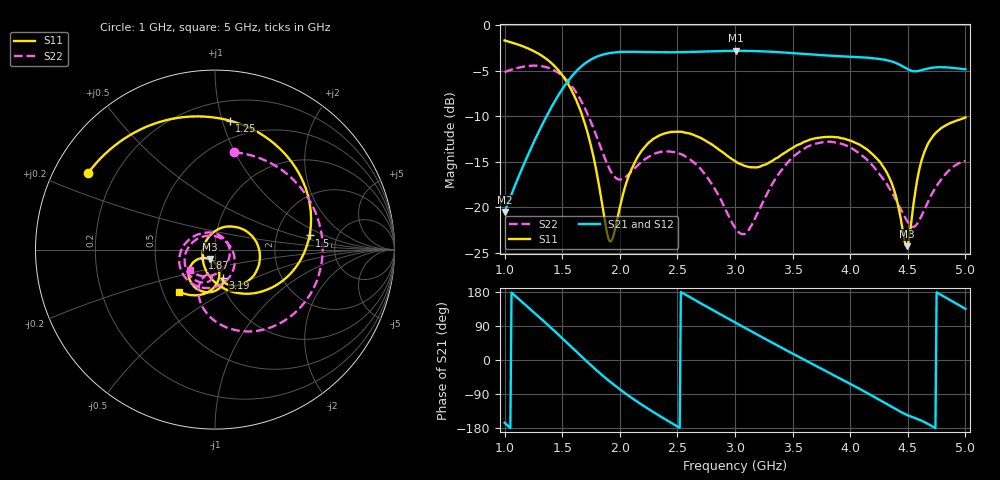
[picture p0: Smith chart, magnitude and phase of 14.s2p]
!Agilent Technologies,N5224A,MY51441093,A.09.90.21
!Agilent N5224A: A.09.90.21
!Date: Wednesday, October 01, 2025 16:40:20
!Correction: S11(Full 2 Port(1,2))
!S21(Full 2 Port(1,2))
!S12(Full 2 Port(1,2))
!S22(Full 2 Port(1,2))
!S2P File: Measurements: S11, S21, S12, S22:
# Hz S  dB  R 50
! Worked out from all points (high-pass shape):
!   401 points, 1 GHz to 5 GHz, reference 50 ohm
!   highest |S21| = -2.80 dB at 3.01 GHz (marker M1); lowest = -20.5 dB at 1 GHz (marker M2)
!   |S21| within 3 dB of the highest: 1.57 GHz to end of sweep
!   lowest |S11| = -24.3 dB at 4.49 GHz (marker M3), VSWR 1.13, Z = 47.1 - j5.2 ohm
!   |S11| at or under -10 dB: 1.676 GHz to end of sweep
!   |S22| runs from -23.0 to -4.4 dB; largest |S21 - S12| = 0.0041
!   S11 on the Smith chart (normalised r, x): 1 GHz: 0.10, +0.27; 1.25 GHz: 0.35, +1.06; 1.5 GHz: 3.11, +0.68; 1.87 GHz: 0.87, -0.08; 3.19 GHz: 1.03, -0.34; 5 GHz: 0.60, -0.31
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1e9  -1.66 149.0  -20.53 -165.5  -20.51 -165.6  -5.14 78.8
1.14e9  -2.22 113.3  -16.09 156.1  -16.08 156.0  -4.60 35.9
1.25e9  -2.81 83.5  -12.94 126.7  -12.93 126.6  -4.43 6.1
1.39e9  -3.97 42.8  -9.38 88.5  -9.37 88.5  -4.72 -29.4
1.5e9  -5.47 8.5  -7.03 57.5  -7.03 57.5  -5.54 -56.3
1.67e9  -9.78 -48.7  -4.47 8.5  -4.46 8.5  -8.44 -93.8
1.77e9  -14.37 -86.9  -3.62 -19.5  -3.60 -19.5  -11.27 -109.4
1.87e9  -21.47 -145.4  -3.16 -45.9  -3.14 -45.9  -14.61 -114.3
1.93e9  -23.63 150.0  -3.02 -60.8  -3.00 -60.8  -16.25 -110.2
2.08e9  -16.47 59.2  -2.91 -95.1  -2.89 -95.0  -16.35 -96.2
2.34e9  -12.13 -1.5  -2.96 -146.6  -2.95 -146.6  -13.96 -115.9
2.65e9  -12.09 -49.2  -2.91 158.6  -2.90 158.6  -15.16 -164.9
3e9  -14.91 -75.9  -2.80 99.3  -2.78 99.3  -22.24 97.7
3.01e9  -15.01 -76.2  -2.80 97.6  -2.78 97.6  -22.41 93.0
3.19e9  -15.62 -74.7  -2.84 67.6  -2.82 67.6  -20.80 5.7
3.44e9  -13.93 -78.7  -3.00 26.6  -2.98 26.6  -15.34 -61.2
3.67e9  -12.52 -94.4  -3.21 -10.2  -3.19 -10.3  -13.14 -103.8
4.04e9  -12.89 -126.2  -3.48 -69.3  -3.45 -69.5  -13.73 -165.1
4.34e9  -16.76 -149.0  -3.90 -120.0  -3.87 -120.3  -17.92 138.4
4.49e9  -24.29 -115.8  -4.76 -144.5  -4.73 -144.8  -21.44 74.0
4.67e9  -13.16 -93.7  -4.76 -167.9  -4.74 -168.1  -19.54 -54.2
5e9  -10.13 -130.6  -4.83 135.0  -4.82 134.8  -14.91 -141.7
